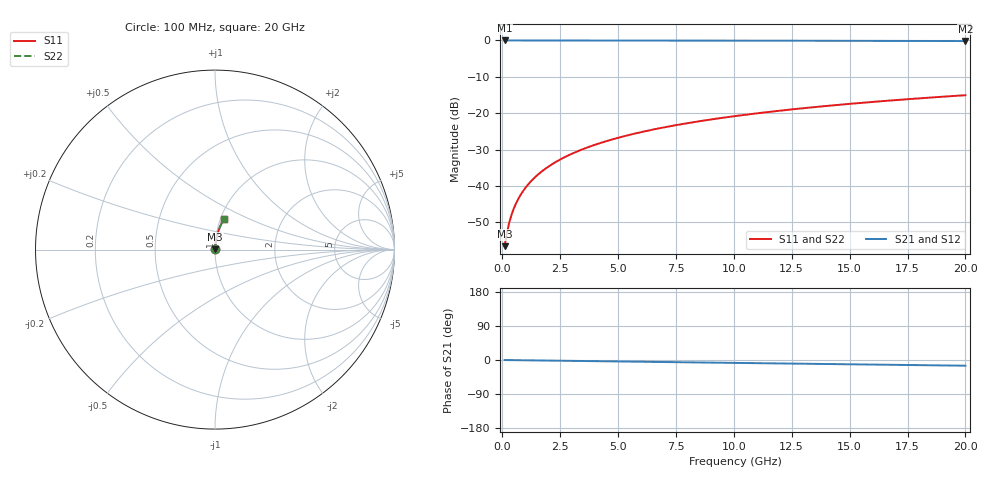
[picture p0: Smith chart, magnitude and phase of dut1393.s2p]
! Touchstone file exported from HFSS 2026.1.0
!  File:  C:/ffzhzh/LocalFiles/Ansys_Project_Files/temp_train_TMRDL_1393_1783166248_51560.aedt
!  Generated:  07:58:39 PM Jul  4, 2026
!  Design:  TMRDL
!  Project:  temp_train_TMRDL_1393_1783166248_51560
! Variables:
!  h_bsmrdl = 2um
!  h_ox = 20um
!  h_rdl = 5um
!  h_sub = 80um
!  h_tmrdl = 2.83um
!  h_tsv = 80um
!  h_via = 3um
!  l_bsmrdl = 300um
!  l_sub = 550.31um
!  l_tmrdl = 150.31um
!  m_sub = 200um
!  pitch = 58.1um
!  r_tsv = 6um
!  s_tmrdl = 10um
!  w_bsmrdl = 18um
!  w_sub = 500um
!  w_tmrdl = 22.66um
!  x_tsv_center1 = 161.64um
!  x_tsv_center2 = 479.64um
!  x_tsv_center3 = 652.61um
!  x_tsv_center4 = 970.61um
!  x_tsv_center5 = 1143.58um
!  x_tsv_center6 = 1461.58um
# GHz S MA R 50.000000
! Terminal data exported
! Port[1] = TM_RDL1_1_T1
! Port[2] = TM_RDL1_1_T2
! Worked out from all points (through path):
!   200 points, 100 MHz to 20 GHz, reference 50 ohm
!   highest |S21| = -0.01 dB at 100 MHz (marker M1); lowest = -0.2 dB at 20 GHz (marker M2)
!   group delay of S21, straight-line fit = 2.09 ps
!   lowest |S11| = -56.5 dB at 100 MHz (marker M3), VSWR 1.00, Z = 50.1 + j0.0983 ohm
!   |S11| at or under -10 dB: start of sweep to end of sweep
!   |S22| runs from -56.5 to -15.1 dB; largest |S21 - S12| = 2e-15
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0.1  0.001491 41.1  0.9989 -0.1  0.9989 -0.1  0.001491 41.1
! Gamma 0 0 0 0
! Port Impedance 50 0 50 0
0.2  0.002268 59.3  0.9988 -0.2  0.9988 -0.2  0.002268 59.3
0.3  0.003141 67.4  0.9988 -0.2  0.9988 -0.2  0.003141 67.4
0.4  0.004035 71.9  0.9988 -0.3  0.9988 -0.3  0.004035 71.9
0.5  0.004934 74.7  0.9987 -0.4  0.9987 -0.4  0.004934 74.7
0.6  0.005834 76.6  0.9987 -0.5  0.9987 -0.5  0.005834 76.6
0.8  0.007636 79.2  0.9986 -0.6  0.9986 -0.6  0.007636 79.2
1.1  0.01035 81.4  0.9986 -0.9  0.9986 -0.9  0.01035 81.4
1.5  0.01399 83.0  0.9985 -1.2  0.9985 -1.2  0.01399 83.0
1.8  0.01673 83.6  0.9984 -1.4  0.9984 -1.4  0.01673 83.6
2.1  0.01947 84.0  0.9983 -1.6  0.9983 -1.6  0.01947 84.0
2.7  0.02496 84.4  0.9982 -2.1  0.9982 -2.1  0.02496 84.4
3.5  0.03227 84.4  0.9979 -2.7  0.9979 -2.7  0.03227 84.4
4.2  0.03866 84.3  0.9976 -3.2  0.9976 -3.2  0.03866 84.3
5  0.04595 83.9  0.9972 -3.8  0.9972 -3.8  0.04595 83.9
5.9  0.05411 83.4  0.9966 -4.5  0.9966 -4.5  0.05411 83.4
6.8  0.06224 82.9  0.996 -5.2  0.996 -5.2  0.06224 82.9
8.3  0.0757 81.9  0.9948 -6.4  0.9948 -6.4  0.0757 81.9
10.1  0.09172 80.7  0.9932 -7.7  0.9932 -7.7  0.09172 80.7
13.4  0.1206 78.4  0.9896 -10.2  0.9896 -10.2  0.1206 78.4
16.7  0.149 76.0  0.9854 -12.6  0.9854 -12.6  0.149 76.0
20  0.1767 73.7  0.9804 -15.0  0.9804 -15.0  0.1767 73.7
